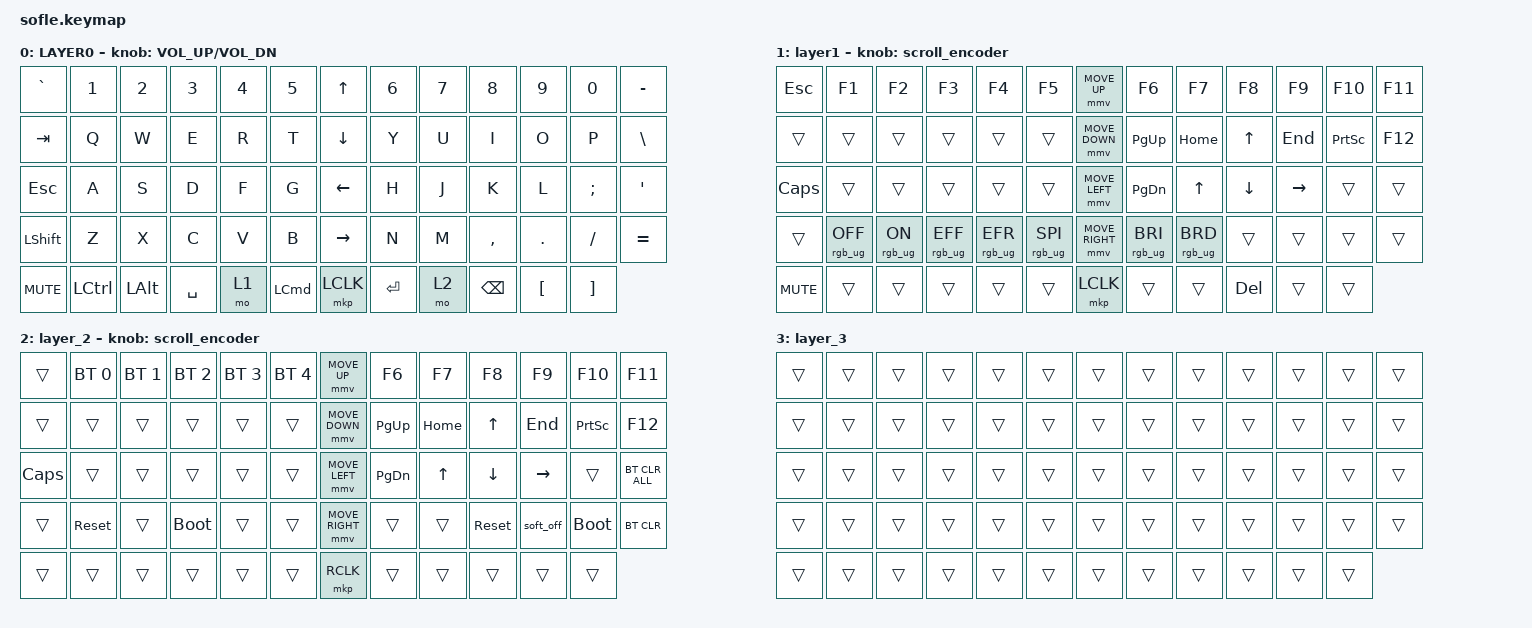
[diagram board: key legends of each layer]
#include <behaviors/mouse_keys.dtsi>
#include <dt-bindings/zmk/mouse.h>
#include <behaviors.dtsi>
#include <dt-bindings/zmk/bt.h>
#include <dt-bindings/zmk/keys.h>
#include <dt-bindings/zmk/pointing.h>
#include <dt-bindings/zmk/rgb.h>

#define ZMK_MOUSE_DEFAULT_MOVE_VAL 1200  // 600
#define ZMK_MOUSE_DEFAULT_SCRL_VAL 20    // 10
#define U_MS_U &mmv MOVE_UP
#define U_MS_D &mmv MOVE_DOWN
#define U_MS_L &mmv MOVE_LEFT
#define U_MS_R &mmv MOVE_RIGHT
#define ZMK_MOUSE_DEFAULT_MOVE_VAL 1200  //  600
#define ZMK_MOUSE_DEFAULT_SCRL_VAL 20    // 10

&soft_off { hold-time-ms = <2000>; };

/ {
    combos {
        compatible = "zmk,combos";

        softoff {
            bindings = <&soft_off>;
            key-positions = <14 28 40>;
        };
    };

    behaviors {
        mmv {
            acceleration-exponent = <1>;      // 1
            time-to-max-speed-ms = <900>;    // 40
            delay-ms = <0>;                   // 0
        };

        msc {
            acceleration-exponent = <1>;      // 0
            time-to-max-speed-ms = <400>;      // 500
            delay-ms = <0>;                   //   10
        };
    };

    scroll_encoder: scroll_encoder {
        compatible = "zmk,behavior-sensor-rotate";
        #sensor-binding-cells = <0>;
        bindings = <&msc SCRL_DOWN>, <&msc SCRL_UP>;

        tap-ms = <30>;
    };

    keymap {
        compatible = "zmk,keymap";

        layer0 {
            bindings = <
&kp GRAVE   &kp N1            &kp N2        &kp N3     &kp N4  &kp N5              &kp UP_ARROW     &kp N6     &kp N7  &kp N8         &kp N9            &kp N0             &kp MINUS
&kp TAB     &kp Q             &kp W         &kp E      &kp R   &kp T               &kp DOWN_ARROW   &kp Y      &kp U   &kp I          &kp O             &kp P              &kp BSLH
&kp ESC     &kp A             &kp S         &kp D      &kp F   &kp G               &kp LEFT_ARROW   &kp H      &kp J   &kp K          &kp L             &kp SEMI           &kp APOS
&kp LSHFT   &kp Z             &kp X         &kp C      &kp V   &kp B               &kp RIGHT_ARROW  &kp N      &kp M   &kp COMMA      &kp DOT           &kp FSLH           &kp EQUAL
&kp C_MUTE  &kp LEFT_CONTROL  &kp LEFT_ALT  &kp SPACE  &mo 1   &kp LEFT_COMMAND    &mkp LCLK        &kp ENTER  &mo 2   &kp BACKSPACE  &kp LEFT_BRACKET  &kp RIGHT_BRACKET
            >;

            sensor-bindings = <&inc_dec_kp C_VOLUME_UP C_VOL_DN>;
            display-name = "LAYER0";
        };

        layer_1 {
            bindings = <
&kp ESCAPE    &kp F1           &kp F2          &kp F3           &kp F4           &kp F5             &mmv MOVE_UP     &kp F6           &kp F7           &kp F8        &kp F9     &kp F10          &kp F11
&trans        &trans           &trans          &trans           &trans           &trans             &mmv MOVE_DOWN   &kp PAGE_UP      &kp HOME         &kp UP_ARROW  &kp END    &kp PRINTSCREEN  &kp F12
&kp CAPSLOCK  &trans           &trans          &trans           &trans           &trans             &mmv MOVE_LEFT   &kp PG_DN        &kp UP_ARROW     &kp DOWN      &kp RIGHT  &trans           &trans
&trans        &rgb_ug RGB_OFF  &rgb_ug RGB_ON  &rgb_ug RGB_EFF  &rgb_ug RGB_EFR  &rgb_ug RGB_SPI    &mmv MOVE_RIGHT  &rgb_ug RGB_BRI  &rgb_ug RGB_BRD  &trans        &trans     &trans           &trans
&kp C_MUTE    &trans           &trans          &trans           &trans           &trans             &mkp LCLK        &trans           &trans           &kp DEL       &trans     &trans
            >;

            display-name = "layer1";
            sensor-bindings = <&scroll_encoder>;
        };

        layer_2 {
            bindings = <
&trans    &bt BT_SEL 0  &bt BT_SEL 1  &bt BT_SEL 2  &bt BT_SEL 3  &bt BT_SEL 4    &mmv MOVE_UP     &kp F6       &kp F7    &kp F8        &kp F9     &kp F10          &kp F11
&trans    &trans        &trans        &trans        &trans        &trans          &mmv MOVE_DOWN   &kp PAGE_UP  &kp HOME  &kp UP_ARROW  &kp END    &kp PRINTSCREEN  &kp F12
&kp CAPS  &trans        &trans        &trans        &trans        &trans          &mmv MOVE_LEFT   &kp PG_DN    &kp UP    &kp DOWN      &kp RIGHT  &trans           &bt BT_CLR_ALL
&trans    &sys_reset    &trans        &bootloader   &trans        &trans          &mmv MOVE_RIGHT  &trans       &trans    &sys_reset    &soft_off  &bootloader      &bt BT_CLR
&trans    &trans        &trans        &trans        &trans        &trans          &mkp RCLK        &trans       &trans    &trans        &trans     &trans
            >;

            sensor-bindings = <&scroll_encoder>;
        };

        layer_3 {
            bindings = <
&trans  &trans  &trans  &trans  &trans  &trans    &trans  &trans  &trans  &trans  &trans  &trans  &trans
&trans  &trans  &trans  &trans  &trans  &trans    &trans  &trans  &trans  &trans  &trans  &trans  &trans
&trans  &trans  &trans  &trans  &trans  &trans    &trans  &trans  &trans  &trans  &trans  &trans  &trans
&trans  &trans  &trans  &trans  &trans  &trans    &trans  &trans  &trans  &trans  &trans  &trans  &trans
&trans  &trans  &trans  &trans  &trans  &trans    &trans  &trans  &trans  &trans  &trans  &trans
            >;
        };
    };
};
